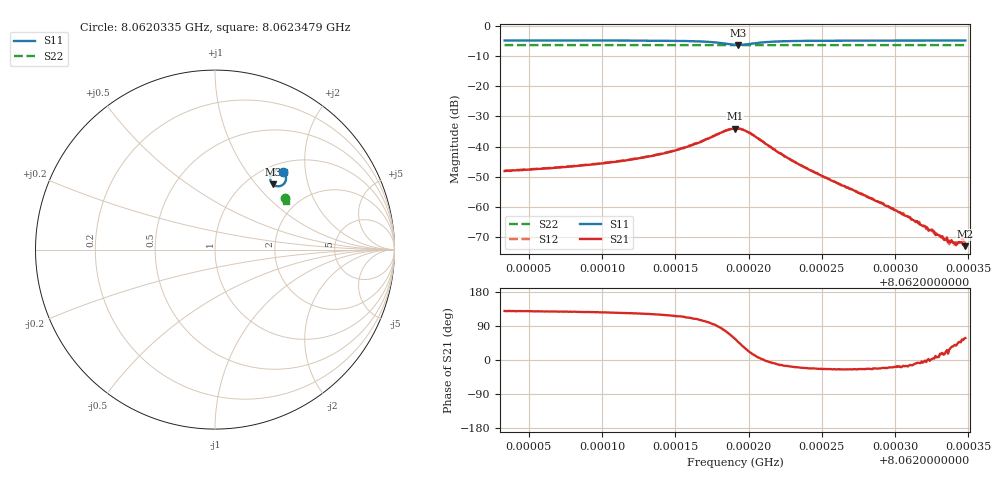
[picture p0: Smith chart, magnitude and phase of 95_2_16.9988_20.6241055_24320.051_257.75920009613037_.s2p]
#  HZ  S  RI  R  50.00
! Rohde & Schwarz Vector Network Analyzer
! Rohde-Schwarz,ZNB20-2Port,1311601062101988,3.16
! Created: UTC 3/20/2024, 10:56:17 PM
! freq[Hz]  re:S11  im:S11  re:S21  im:S21  re:S12  im:S12  re:S22  im:S22
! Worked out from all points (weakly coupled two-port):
!   401 points, 8.0620335 GHz to 8.0623479 GHz, reference 50 ohm
!   highest |S21| = -34.01 dB at 8.0621907 GHz (marker M1); lowest = -73.0 dB at 8.0623479 GHz (marker M2)
!   lowest |S11| = -6.3 dB at 8.0621931 GHz (marker M3), VSWR 2.89, Z = 64.6 + j61.5 ohm
!   |S11| at or under -10 dB: nowhere
!   |S22| runs from -6.4 to -6.3 dB; largest |S21 - S12| = 0.0014
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8.0620335e9  0.3788 0.4331  -0.0025 0.00304  -0.00235 0.00322  0.3872 0.2879
8.06208617e9  0.3844 0.4272  -0.00288 0.00389  -0.00271 0.0041  0.3893 0.2852
8.06211447e9  0.3883 0.4218  -0.00329 0.00484  -0.00304 0.00509  0.39 0.2836
8.06213884e9  0.3926 0.4138  -0.00369 0.00642  -0.00332 0.00672  0.391 0.2821
8.06215692e9  0.3956 0.4015  -0.00378 0.00901  -0.00327 0.00924  0.3914 0.2807
8.06217421e9  0.3907 0.3761  -0.00174 0.0141  -0.000783 0.0143  0.3914 0.2787
8.06218522e9  0.362 0.3537  0.00522 0.0179  0.00636 0.0177  0.3899 0.2778
8.06219072e9  0.3341 0.3564  0.0112 0.0165  0.0124 0.0157  0.3892 0.2782
8.06219308e9  0.3228 0.3635  0.0135 0.0145  0.0145 0.0136  0.3888 0.2785
8.06220015e9  0.3076 0.3971  0.0158 0.00667  0.0163 0.00566  0.389 0.2798
8.06221116e9  0.3237 0.4311  0.0113 -0.000249  0.0114 -0.000873  0.3905 0.2807
8.0622261e9  0.3464 0.4405  0.00638 -0.00179  0.00628 -0.00219  0.392 0.2799
8.06224339e9  0.36 0.4401  0.00361 -0.00147  0.00357 -0.00171  0.3931 0.279
8.06229606e9  0.3758 0.4343  0.000923 -0.000323  0.000931 -0.000367  0.3953 0.2759
8.06230864e9  0.3778 0.4332  0.000657 -0.000203  0.000658 -0.000241  0.3959 0.2754
8.06232043e9  0.3793 0.432  0.000475 -1.32e-05  0.00047 -6.21e-05  0.3962 0.2748
8.06232357e9  0.3798 0.4317  0.000419 -1.68e-05  0.000424 -4.02e-05  0.3964 0.2745
8.06233536e9  0.3813 0.4308  0.00028 0.000138  0.000258 7.24e-05  0.3968 0.2738
8.06234165e9  0.382 0.4304  0.000182 0.000142  0.000199 0.000168  0.3971 0.2736
8.06234401e9  0.3822 0.4301  0.000177 0.000195  0.000153 0.000203  0.397 0.2734
8.06234558e9  0.3823 0.4301  0.000152 0.000211  0.000187 0.00023  0.3971 0.2734
8.06234794e9  0.3826 0.4298  0.000119 0.000189  0.000129 0.000195  0.3971 0.2733
